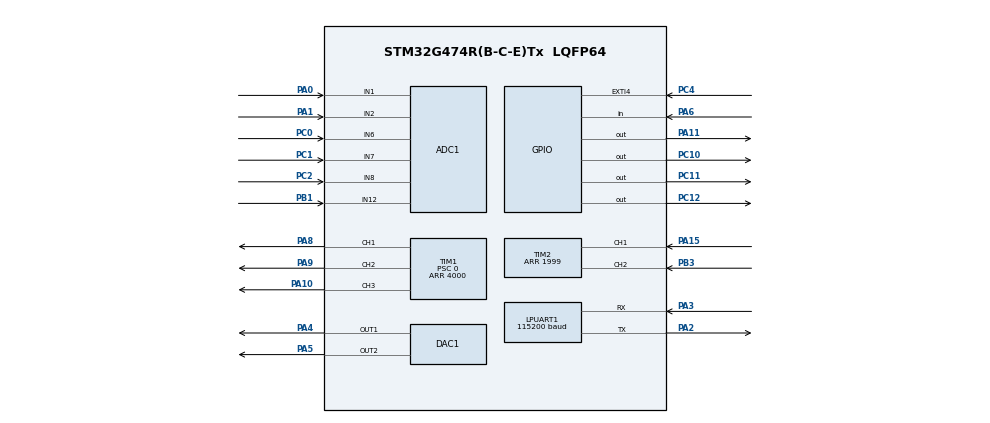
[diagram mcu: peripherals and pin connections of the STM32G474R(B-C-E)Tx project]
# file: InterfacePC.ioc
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ADC1.Channel-1\#ChannelRegularConversion=ADC_CHANNEL_1
ADC1.Channel-2\#ChannelRegularConversion=ADC_CHANNEL_7
ADC1.Channel-3\#ChannelRegularConversion=ADC_CHANNEL_6
ADC1.Channel-4\#ChannelRegularConversion=ADC_CHANNEL_2
ADC1.Channel-5\#ChannelRegularConversion=ADC_CHANNEL_8
ADC1.Channel-6\#ChannelRegularConversion=ADC_CHANNEL_TEMPSENSOR_ADC1
ADC1.Channel-7\#ChannelRegularConversion=ADC_CHANNEL_VREFINT
ADC1.Channel-8\#ChannelRegularConversion=ADC_CHANNEL_12
ADC1.DMAContinuousRequests=ENABLE
ADC1.EOCSelection=ADC_EOC_SEQ_CONV
ADC1.ExternalTrigConv=ADC_EXTERNALTRIG_T1_TRGO2
ADC1.NbrOfConversion=8
ADC1.NbrOfConversionFlag=1
ADC1.OffsetNumber-1\#ChannelRegularConversion=ADC_OFFSET_NONE
ADC1.OffsetNumber-2\#ChannelRegularConversion=ADC_OFFSET_NONE
ADC1.OffsetNumber-3\#ChannelRegularConversion=ADC_OFFSET_NONE
ADC1.OffsetNumber-4\#ChannelRegularConversion=ADC_OFFSET_NONE
ADC1.OffsetNumber-5\#ChannelRegularConversion=ADC_OFFSET_NONE
ADC1.OffsetNumber-6\#ChannelRegularConversion=ADC_OFFSET_NONE
ADC1.OffsetNumber-7\#ChannelRegularConversion=ADC_OFFSET_NONE
ADC1.OffsetNumber-8\#ChannelRegularConversion=ADC_OFFSET_NONE
ADC1.Rank-1\#ChannelRegularConversion=1
ADC1.Rank-2\#ChannelRegularConversion=2
ADC1.Rank-3\#ChannelRegularConversion=3
ADC1.Rank-4\#ChannelRegularConversion=4
ADC1.Rank-5\#ChannelRegularConversion=5
ADC1.Rank-6\#ChannelRegularConversion=6
ADC1.Rank-7\#ChannelRegularConversion=7
ADC1.Rank-8\#ChannelRegularConversion=8
ADC1.SamplingTime-1\#ChannelRegularConversion=ADC_SAMPLETIME_6CYCLES_5
ADC1.SamplingTime-2\#ChannelRegularConversion=ADC_SAMPLETIME_6CYCLES_5
ADC1.SamplingTime-3\#ChannelRegularConversion=ADC_SAMPLETIME_6CYCLES_5
ADC1.SamplingTime-4\#ChannelRegularConversion=ADC_SAMPLETIME_6CYCLES_5
ADC1.SamplingTime-5\#ChannelRegularConversion=ADC_SAMPLETIME_6CYCLES_5
ADC1.SamplingTime-6\#ChannelRegularConversion=ADC_SAMPLETIME_6CYCLES_5
ADC1.SamplingTime-7\#ChannelRegularConversion=ADC_SAMPLETIME_6CYCLES_5
ADC1.SamplingTime-8\#ChannelRegularConversion=ADC_SAMPLETIME_6CYCLES_5
ADC1.master=1
DAC1.DAC_Channel-DAC_OUT2=DAC_CHANNEL_2
Dma.ADC1.0.Direction=DMA_PERIPH_TO_MEMORY
Dma.ADC1.0.EventEnable=DISABLE
Dma.ADC1.0.Instance=DMA1_Channel1
Dma.ADC1.0.MemDataAlignment=DMA_MDATAALIGN_WORD
Dma.ADC1.0.MemInc=DMA_MINC_ENABLE
Dma.ADC1.0.Mode=DMA_CIRCULAR
Dma.ADC1.0.PeriphDataAlignment=DMA_PDATAALIGN_HALFWORD
Dma.ADC1.0.PeriphInc=DMA_PINC_DISABLE
Dma.ADC1.0.Polarity=HAL_DMAMUX_REQ_GEN_RISING
Dma.ADC1.0.Priority=DMA_PRIORITY_LOW
Dma.ADC1.0.RequestNumber=1
Dma.ADC1.0.SignalID=NONE
Dma.ADC1.0.SyncEnable=DISABLE
Dma.ADC1.0.SyncPolarity=HAL_DMAMUX_SYNC_NO_EVENT
Dma.ADC1.0.SyncRequestNumber=1
Dma.ADC1.0.SyncSignalID=NONE
Dma.Request0=ADC1
LPUART1.BaudRate=115200
LPUART1.Parity=UART_PARITY_EVEN
Mcu.Family=STM32G4
Mcu.Name=STM32G474R(B-C-E)Tx
Mcu.Package=LQFP64
NVIC.DMA1_Channel1_IRQn=true\:0\:0\:true\:false\:true\:false\:true
NVIC.LPUART1_IRQn=true\:2\:0\:true\:false\:true\:true\:true
NVIC.PriorityGroup=NVIC_PRIORITYGROUP_3
NVIC.TIM3_IRQn=true\:1\:0\:true\:false\:true\:true\:true
PA0.Mode=IN1-Single-Ended
PA0.Signal=ADC1_IN1
PA1.Mode=IN2-Single-Ended
PA1.Signal=ADC1_IN2
PA10.Signal=S_TIM1_CH3
PA11.GPIO_ModeDefaultOutputPP=GPIO_MODE_OUTPUT_OD
PA11.Signal=GPIO_Output
PA13.Mode=Serial_Wire
PA13.Signal=SYS_JTMS-SWDIO
PA14.Mode=Serial_Wire
PA14.Signal=SYS_JTCK-SWCLK
PA15.Signal=S_TIM2_CH1
PA2.Mode=Asynchronous
PA2.Signal=LPUART1_TX
PA3.Mode=Asynchronous
PA3.Signal=LPUART1_RX
PA4.Signal=COMP_DAC11_group
PA5.Signal=COMP_DAC12_group
PA6.Signal=GPIO_Input
PA8.Signal=S_TIM1_CH1
PA9.Signal=S_TIM1_CH2
PB1.Mode=IN12-Single-Ended
PB1.Signal=ADC1_IN12
PB3.Signal=S_TIM2_CH2
PC0.Mode=IN6-Single-Ended
PC0.Signal=ADC1_IN6
PC1.Mode=IN7-Single-Ended
PC1.Signal=ADC1_IN7
PC10.Signal=GPIO_Output
PC11.Signal=GPIO_Output
PC12.Signal=GPIO_Output
PC2.Mode=IN8-Single-Ended
PC2.Signal=ADC1_IN8
PC4.Signal=GPXTI4
PF0-OSC_IN.Mode=HSE-External-Oscillator
PF0-OSC_IN.Signal=RCC_OSC_IN
PF1-OSC_OUT.Mode=HSE-External-Oscillator
PF1-OSC_OUT.Signal=RCC_OSC_OUT
ProjectManager.HeapSize=0x200
ProjectManager.StackSize=0x400
ProjectManager.TargetToolchain=MDK-ARM V5.27
RCC.ADC12Freq_Value=160000000
RCC.ADC345Freq_Value=160000000
RCC.AHBFreq_Value=160000000
RCC.APB1CLKDivider=RCC_HCLK_DIV2
RCC.APB1Freq_Value=80000000
RCC.APB1TimFreq_Value=160000000
RCC.APB2CLKDivider=RCC_HCLK_DIV2
RCC.APB2Freq_Value=80000000
RCC.APB2TimFreq_Value=160000000
RCC.CortexFreq_Value=160000000
RCC.EXTERNAL_CLOCK_VALUE=12288000
RCC.HCLKFreq_Value=160000000
RCC.HSE_VALUE=24000000
RCC.HSI48_VALUE=48000000
RCC.HSI_VALUE=16000000
RCC.LSE_VALUE=32768
RCC.PLLM=RCC_PLLM_DIV3
RCC.PLLN=40
RCC.PLLSourceVirtual=RCC_PLLSOURCE_HSE
RCC.SYSCLKFreq_VALUE=160000000
RCC.SYSCLKSource=RCC_SYSCLKSOURCE_PLLCLK
RCC.USBFreq_Value=160000000
RCC.VCOOutputFreq_Value=320000000
SH.COMP_DAC11_group.0=DAC1_OUT1,DAC_OUT1
SH.COMP_DAC12_group.0=DAC1_OUT2,DAC_OUT2
SH.S_TIM1_CH1.0=TIM1_CH1,PWM Generation1 CH1
SH.S_TIM1_CH2.0=TIM1_CH2,PWM Generation2 CH2
SH.S_TIM1_CH3.0=TIM1_CH3,PWM Generation3 CH3
SH.S_TIM2_CH1.0=TIM2_CH1,Encoder_Interface
SH.S_TIM2_CH2.0=TIM2_CH2,Encoder_Interface
TIM1.AutoReloadPreload=TIM_AUTORELOAD_PRELOAD_DISABLE
TIM1.AutomaticOutput=TIM_AUTOMATICOUTPUT_ENABLE
TIM1.Channel-PWM\ Generation1\ CH1=TIM_CHANNEL_1
TIM1.Channel-PWM\ Generation2\ CH2=TIM_CHANNEL_2
TIM1.Channel-PWM\ Generation3\ CH3=TIM_CHANNEL_3
TIM1.CounterMode=TIM_COUNTERMODE_CENTERALIGNED1
TIM1.OCFastMode_PWM-PWM\ Generation1\ CH1=TIM_OCFAST_ENABLE
TIM1.OCFastMode_PWM-PWM\ Generation2\ CH2=TIM_OCFAST_ENABLE
TIM1.OCFastMode_PWM-PWM\ Generation3\ CH3=TIM_OCFAST_ENABLE
TIM1.PeriodNoDither=4000
TIM1.Prescaler=0
TIM1.TIM_MasterOutputTrigger=TIM_TRGO_UPDATE
TIM1.TIM_MasterOutputTrigger2=TIM_TRGO2_UPDATE
TIM2.PeriodNoDither=1999
TIM3.PeriodNoDither=9
VP_ADC1_TempSens_Input.Mode=IN-TempSens
VP_ADC1_Vref_Input.Mode=IN-Vrefint
VP_SYS_VS_DBSignals.Mode=DisableDeadBatterySignals
VP_TIM1_VS_ClockSourceINT.Mode=Internal
VP_TIM3_VS_ClockSourceITR.Mode=TriggerSource_ITR0
VP_TIM3_VS_ControllerModeClock.Mode=Clock Mode
VP_TIM4_VS_ClockSourceINT.Mode=Internal
board=custom

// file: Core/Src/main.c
/* USER CODE BEGIN Header */
/**
  ******************************************************************************
  * @file           : main.c
  * @brief          : Main program body
  ******************************************************************************
  * @attention
  *
  * <h2><center>&copy; Copyright (c) 2022 STMicroelectronics.
  * All rights reserved.</center></h2>
  *
  * This software component is licensed by ST under BSD 3-Clause license,
  * the "License"; You may not use this file except in compliance with the
  * License. You may obtain a copy of the License at:
  *                        opensource.org/licenses/BSD-3-Clause
  *
	* Software implement vector control system for PMSM.
	* Using hardware:
	*  PMSM ACM601V36-T2500 with bield-in encoder 2000PPR,
	*  bord with inventer x-nucleo-ihm07m1,
  *  bord with MCU nucleo-g474,
	*  supply with 8 Volt.
	*
	* Program execution sequence
	*	1) Program starts with declaration and definition nessesary vars and constants
	* 2) Then initiation of nessesary peripheral units is executed. These are
	*   TIM1 for generating PWM signals in up/down mode with 20 kHz frequency and calling ADC1
	*   TIM2 for geting signal of encoder
	*   TIM3 for generating interruption with 2 kHz frequency for handling no importent vars
	*   ADC1 for measuring phase currents, supply voltage, temperature and voltage of target of speed
	*   DMA1 for transfering data from ADC1 regulag register to array dataADC1[8] and calling interruption
	*   USART for communicating with PC in future
	*   DAC1 for output analog signals of speed and general current
	*   GPIO for getting and setting signals enable and fault
	* 3) Then encoder is colibrated
	* 4) After initialization forever loop starts and all work implements in interruptions
	*   current loop is solved in interruption of DMA with frequency 20 kHz
  *   speed loop is solved also in	interruption of DMA but with frequency 2 kHz
  *   handling other analog signal and prepering analog output are complited in interruption of TIM3 with frequency 2 kHz
  *   interface with PC will be implement in interruption of UART

  ******************************************************************************
  */
/* USER CODE END Header */
#include "main.h"
#include "adc.h"
#include "dac.h"
#include "dma.h"
#include "usart.h"
#include "tim.h"
#include "gpio.h"

/* USER CODE BEGIN Includes */
#include "math.h"
/* USER CODE END Includes */

/* USER CODE BEGIN PV */
const float PI23=2.0943952f;
const float PI2=6.2832f;

const uint32_t PI43_BIT=1354; // 2/3 full turnover encoder in bits
const uint32_t PI23_BIT=667; // 1/3 full turnover encoder in bits
const uint32_t PI2_BIT=2000UL; // full turnover encoder in bits

struct Var_data I_data={0};
struct Var_data V_data={0};

struct PID_param I_PID_param={0};
struct PID_param V_PID_param={0};

uint32_t volatile dataADC1[8]={0}; // Array is filled by DMA
// dataADC[0]=IA;
// dataADC[1]=IB;
// dataADC[2]=IC;
// dataADC[3]=Uin  if Uin=10V then dataADC[3]=10*9.31/(178.31)/3.3*4095=647;
// dataADC[4]=Tboard if Tboard=0 then dataADC[4]=3.3*4.7/(4.7+10)/3.3*4095=1309;
// dataADC[5]~Tmc;
// dataADC[6]~Umc;
// max data = 2^12 - 1 = 4095;

float volatile Uin=0; // voltage of power supply
uint32_t volatile Umcu=0; // voltage of MCU supply
float volatile Tboard=0; // temperature of inverter
float volatile Rntc=4.7f; // kOmh
int32_t volatile Tmcu=0; // temperature of MCU

float volatile Ifb[3]={0}; // phase current
float volatile Ifb0=0; // general current
float volatile Ifb0_tmp=0; // general current
float volatile Iref=0; // reference current

float const Kfb=625.3065f; // Kfb=Rshunt*Kopa*KADC=0.33*1.527*(2^12-1)/3.3
float const invKfb=0.0016f; // 1/Kfb
float const Ibias=3.0918f; //Ibias=Ubias/Rshunt/Kop

float volatile Vfb=0; // speed of rotor
float volatile Vref=50; // reference speed of rotor
float volatile P=0; // position of rotor
uint32_t volatile P_BIT=0; // position of rotor
float volatile SIN_BIT[4000]={0}; // sin(position of rotor)

uint32_t volatile flag_work=0L;
uint32_t volatile PWM[3]={0};
float volatile rangeEnc=0;
float volatile rangePWM=0;
float volatile U0=0; // output of current regulator
float const T1 = 0.00005f; // sample time for current loop
float const T2 = 0.0005f; // sample time for speed loop
float const F1 = 20000.f; // frequency of current loop
float const F2 = 2000.f; // frequency of speed loop
uint32_t const zp=4; // pare pole
uint16_t volatile tick=0;
uint16_t volatile Ntick=0;
/* USER CODE END PV */

void SystemClock_Config(void);

int main(void)
{

  /* MCU Configuration--------------------------------------------------------*/

  /* Reset of all peripherals, Initializes the Flash interface and the Systick. */

  LL_APB2_GRP1_EnableClock(LL_APB2_GRP1_PERIPH_SYSCFG);
  LL_APB1_GRP1_EnableClock(LL_APB1_GRP1_PERIPH_PWR);

  NVIC_SetPriorityGrouping(NVIC_PRIORITYGROUP_3);

  /* System interrupt init*/

  /** Disable the internal Pull-Up in Dead Battery pins of UCPD peripheral
  */
  LL_PWR_DisableUCPDDeadBattery();

  /* Configure the system clock */
  SystemClock_Config();

  /* Initialize all configured peripherals */
  MX_GPIO_Init();
  MX_DMA_Init();
  MX_LPUART1_UART_Init();
  MX_ADC1_Init();
  MX_TIM1_Init();
  MX_TIM2_Init();
  MX_DAC1_Init();
  MX_TIM3_Init();
  MX_TIM4_Init();
  /* USER CODE BEGIN 2 */
	USER_LPUART1_UART_Init();
	USER_DMA_Init();
	USER_ADCx_Init(ADC1);
	USER_TIM1_PWM_Init();
	USER_TIM2_ENCODER_Init();
	USER_TIM3_Init();
	USER_TIM4_Init();
	LL_DAC_Enable(DAC1, LL_DAC_CHANNEL_1);
	LL_DAC_Enable(DAC1, LL_DAC_CHANNEL_2);
  /* USER CODE END 2 */

  /* Infinite loop */
  /* USER CODE BEGIN WHILE */

	rangePWM = LL_TIM_GetAutoReload(TIM1);
	rangeEnc = LL_TIM_GetAutoReload(TIM2);

	// prepare array with value of sin for coordinate transformations
	for(int i=0; i<rangeEnc; i++)
	{
		SIN_BIT[i]=sin(i*PI2/rangeEnc);
	}
	// prepare regulators
	I_PID_param.Ki = 0.0187f;
	I_PID_param.Kp = 0.5625f;
	I_PID_param.limit = 0.95f;
	I_data.PID = &I_PID_param;

	V_PID_param.Ki = 0.00026f;
	V_PID_param.Kp = 0.0103f;
	V_PID_param.limit = 5.0f;
	V_data.PID = &V_PID_param;

	startPWM(); // enable channal of PWM of MCU
	LL_GPIO_SetOutputPin(GPIOC, LL_GPIO_PIN_10|LL_GPIO_PIN_11|LL_GPIO_PIN_12); // enable channal of PWM of L6230
	LL_GPIO_SetOutputPin(GPIOA, LL_GPIO_PIN_11); // enable L6230

	calibEncoder(PWM);

	flag_work=1; // enable regulators

  while (1)
  {
    /* USER CODE END WHILE */

  }
}

void SystemClock_Config(void)
{
  LL_FLASH_SetLatency(LL_FLASH_LATENCY_4);
  while(LL_FLASH_GetLatency() != LL_FLASH_LATENCY_4)
  {
  }
  LL_PWR_EnableRange1BoostMode();
  LL_RCC_HSE_Enable();
   /* Wait till HSE is ready */
  while(LL_RCC_HSE_IsReady() != 1)
  {
  }

  LL_RCC_PLL_ConfigDomain_SYS(LL_RCC_PLLSOURCE_HSE, LL_RCC_PLLM_DIV_3, 40, LL_RCC_PLLR_DIV_2);
  LL_RCC_PLL_EnableDomain_SYS();
  LL_RCC_PLL_Enable();
   /* Wait till PLL is ready */
  while(LL_RCC_PLL_IsReady() != 1)
  {
  }

  LL_RCC_SetSysClkSource(LL_RCC_SYS_CLKSOURCE_PLL);
  LL_RCC_SetAHBPrescaler(LL_RCC_SYSCLK_DIV_2);
   /* Wait till System clock is ready */
  while(LL_RCC_GetSysClkSource() != LL_RCC_SYS_CLKSOURCE_STATUS_PLL)
  {
  }

  /* Insure 1µs transition state at intermediate medium speed clock based on DWT */
  CoreDebug->DEMCR |= CoreDebug_DEMCR_TRCENA_Msk;
  DWT->CTRL |= DWT_CTRL_CYCCNTENA_Msk;
  DWT->CYCCNT = 0;
  while(DWT->CYCCNT < 100);
  /* Set AHB prescaler*/
  LL_RCC_SetAHBPrescaler(LL_RCC_SYSCLK_DIV_1);
  LL_RCC_SetAPB1Prescaler(LL_RCC_APB1_DIV_2);
  LL_RCC_SetAPB2Prescaler(LL_RCC_APB2_DIV_2);

  LL_Init1msTick(160000000);

  LL_SetSystemCoreClock(160000000);
  LL_RCC_SetLPUARTClockSource(LL_RCC_LPUART1_CLKSOURCE_PCLK1);
  LL_RCC_SetADCClockSource(LL_RCC_ADC12_CLKSOURCE_SYSCLK);
}

/* USER CODE BEGIN 4 */
/* --------------- PI Regulators ---------------*/
float Control_PI( struct Var_data *Data)
{
	float contr_out=0;

	Data->Integ = Data->Err * Data->PID->Ki + Data->Integ; // Integral

	// Limiting
	if (Data->Integ  >  Data->PID->limit){
		Data->Integ = Data->PID->limit;}
	else if (Data->Integ  <  -Data->PID->limit){
		Data->Integ =  -Data->PID->limit;}
	else{
		Data->Integ = Data->Integ;}

	contr_out = Data->Integ + Data->PID->Kp * Data->Err;  // Integral and Proportion

	// Limiting
	if (contr_out  >  Data->PID->limit){
		contr_out = Data->PID->limit;}
	else if (contr_out  <  -Data->PID->limit){
		contr_out = -Data->PID->limit;}
	else{
		contr_out = contr_out;}

	return contr_out;
}

/* USER CODE END 4 */

void Error_Handler(void)
{
}

/************************ (C) COPYRIGHT STMicroelectronics *****END OF FILE****/
